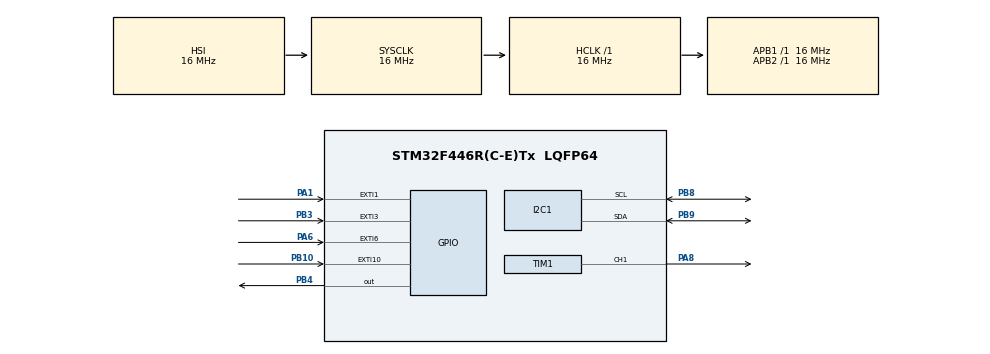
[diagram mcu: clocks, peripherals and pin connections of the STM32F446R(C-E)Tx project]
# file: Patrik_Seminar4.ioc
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Mcu.Family=STM32F4
PA6.GPIO_ModeDefaultEXTI=GPIO_MODE_IT_FALLING
RCC.CortexFreq_Value=16000000
PB10.GPIO_PuPd=GPIO_PULLUP
NVIC.EXTI3_IRQn=true\:3\:0\:true\:false\:true\:true\:true
PB3.GPIO_ModeDefaultEXTI=GPIO_MODE_IT_FALLING
ProjectManager.StackSize=0x400
PA13.Signal=SYS_JTMS-SWDIO
NVIC.EXTI1_IRQn=true\:3\:0\:true\:false\:true\:true\:true
TIM1.Prescaler=15
SH.S_TIM1_CH1.0=TIM1_CH1,PWM Generation1 CH1
ProjectManager.TargetToolchain=STM32CubeIDE
RCC.HCLKFreq_Value=16000000
PB9.Mode=I2C
RCC.APB2TimFreq_Value=16000000
RCC.USBFreq_Value=96000000
PA1.GPIO_PuPd=GPIO_PULLUP
PA1.Signal=GPXTI1
RCC.AHBFreq_Value=16000000
PB10.Signal=GPXTI10
NVIC.EXTI15_10_IRQn=true\:3\:0\:true\:false\:true\:true\:true
board=custom
RCC.VCOOutputFreq_Value=192000000
RCC.APB2Freq_Value=16000000
PA6.GPIO_PuPd=GPIO_PULLUP
PB3.GPIO_PuPd=GPIO_PULLUP
TIM1.Channel-PWM\ Generation1\ CH1=TIM_CHANNEL_1
PA14.Mode=Serial_Wire
PA8.Signal=S_TIM1_CH1
PA13.Mode=Serial_Wire
PB10.GPIO_ModeDefaultEXTI=GPIO_MODE_IT_FALLING
Mcu.Name=STM32F446R(C-E)Tx
VP_TIM1_VS_ClockSourceINT.Mode=Internal
PB3.Signal=GPXTI3
RCC.SYSCLKFreq_VALUE=16000000
Mcu.Package=LQFP64
PB9.Signal=I2C1_SDA
PA6.Signal=GPXTI6
NVIC.EXTI9_5_IRQn=true\:3\:0\:true\:false\:true\:true\:true
PA14.Signal=SYS_JTCK-SWCLK
ProjectManager.HeapSize=0x200
NVIC.PriorityGroup=NVIC_PRIORITYGROUP_4
PB8.Mode=I2C
RCC.APB1TimFreq_Value=16000000
PB8.Signal=I2C1_SCL
TIM1.Period=499
RCC.APB1Freq_Value=16000000
PA1.GPIO_ModeDefaultEXTI=GPIO_MODE_IT_FALLING
PB4.Signal=GPIO_Output

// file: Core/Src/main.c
/* USER CODE BEGIN Header */
/**
  ******************************************************************************
  * @file           : main.c
  * @brief          : Main program body
  ******************************************************************************
  * @attention
  *
  * <h2><center>&copy; Copyright (c) 2024 STMicroelectronics.
  * All rights reserved.</center></h2>
  *
  * This software component is licensed by ST under BSD 3-Clause license,
  * the "License"; You may not use this file except in compliance with the
  * License. You may obtain a copy of the License at:
  *                        opensource.org/licenses/BSD-3-Clause
  *
  ******************************************************************************
  */
/* USER CODE END Header */
#include "main.h"
#include "i2c.h"
#include "tim.h"
#include "gpio.h"
#include "lcd_biblioteka.h"
#include "stdio.h"

void SystemClock_Config(void);

int main(void)
{

  /* MCU Configuration--------------------------------------------------------*/

  /* Reset of all peripherals, Initializes the Flash interface and the Systick. */
  HAL_Init();

  /* Configure the system clock */
  SystemClock_Config();

  /* Initialize all configured peripherals */
  MX_GPIO_Init();
  MX_TIM1_Init();
  MX_I2C1_Init();
  /* USER CODE BEGIN 2 */

    LCDIspis_Init(2);
    LCDIspis_Clear();
	LCDIspis_SetCursor(0, 0);
	LCDIspis_PrintStr("Odaberite brzinu:");
	LCDIspis_SetCursor(5, 1);
	LCDIspis_PrintStr("1. 2. 3.");

  /* USER CODE END 2 */

  /* Infinite loop */
  while (1)
  {

  }
}

void SystemClock_Config(void)
{
  RCC_OscInitTypeDef RCC_OscInitStruct = {0};
  RCC_ClkInitTypeDef RCC_ClkInitStruct = {0};

  /** Configure the main internal regulator output voltage
  */
  __HAL_RCC_PWR_CLK_ENABLE();
  __HAL_PWR_VOLTAGESCALING_CONFIG(PWR_REGULATOR_VOLTAGE_SCALE3);
  /** Initializes the RCC Oscillators according to the specified parameters
  * in the RCC_OscInitTypeDef structure.
  */
  RCC_OscInitStruct.OscillatorType = RCC_OSCILLATORTYPE_HSI;
  RCC_OscInitStruct.HSIState = RCC_HSI_ON;
  RCC_OscInitStruct.HSICalibrationValue = RCC_HSICALIBRATION_DEFAULT;
  RCC_OscInitStruct.PLL.PLLState = RCC_PLL_NONE;
  if (HAL_RCC_OscConfig(&RCC_OscInitStruct) != HAL_OK)
  {
    Error_Handler();
  }
  /** Initializes the CPU, AHB and APB buses clocks
  */
  RCC_ClkInitStruct.ClockType = RCC_CLOCKTYPE_HCLK|RCC_CLOCKTYPE_SYSCLK
                              |RCC_CLOCKTYPE_PCLK1|RCC_CLOCKTYPE_PCLK2;
  RCC_ClkInitStruct.SYSCLKSource = RCC_SYSCLKSOURCE_HSI;
  RCC_ClkInitStruct.AHBCLKDivider = RCC_SYSCLK_DIV1;
  RCC_ClkInitStruct.APB1CLKDivider = RCC_HCLK_DIV1;
  RCC_ClkInitStruct.APB2CLKDivider = RCC_HCLK_DIV1;

  if (HAL_RCC_ClockConfig(&RCC_ClkInitStruct, FLASH_LATENCY_0) != HAL_OK)
  {
    Error_Handler();
  }
}

/* USER CODE BEGIN 4 */
void HAL_GPIO_EXTI_Callback(uint16_t GPIO_Pin)
{
	int duty_cycle;
	char lcdBuffer[16];

	if (GPIO_Pin == GPIO_PIN_1)
	{
		HAL_GPIO_WritePin(GPIOB, GPIO_PIN_4, 1);

		TIM1->CCR1 = 170;
		duty_cycle = ((170 * 100) / 500);
		HAL_TIM_PWM_Start(&htim1, TIM_CHANNEL_1);

		LCDIspis_Clear();
		LCDIspis_SetCursor(0, 0);
		LCDIspis_PrintStr("1. Duty cycle je:");
		LCDIspis_SetCursor(5, 1);
		sprintf(lcdBuffer, " %d%%", duty_cycle);
		LCDIspis_PrintStr(lcdBuffer);

		HAL_Delay(200);

	}
	else if (GPIO_Pin == GPIO_PIN_6)
	{
		HAL_GPIO_WritePin(GPIOB, GPIO_PIN_4, 1);

		TIM1->CCR1 = 250;
		duty_cycle = ((250 * 100) / 500);
		HAL_TIM_PWM_Start(&htim1, TIM_CHANNEL_1);

		LCDIspis_Clear();
		LCDIspis_SetCursor(0, 0);
		LCDIspis_PrintStr("2.Duty cycle je:");

		LCDIspis_SetCursor(5, 1);
		sprintf(lcdBuffer, " %d%%", duty_cycle);
		LCDIspis_PrintStr(lcdBuffer);

		HAL_Delay(200);
	}
	else if (GPIO_Pin == GPIO_PIN_10)

	{

		HAL_GPIO_WritePin(GPIOB, GPIO_PIN_4, 1);

		TIM1->CCR1 = 350;
		duty_cycle = ((350 * 100) / 500);
		HAL_TIM_PWM_Start(&htim1, TIM_CHANNEL_1);

		LCDIspis_Clear();
		LCDIspis_SetCursor(0, 0);
		LCDIspis_PrintStr("3.Duty cycle je:");

		LCDIspis_SetCursor(5, 1);
		sprintf(lcdBuffer, " %d%% ", duty_cycle);
		LCDIspis_PrintStr(lcdBuffer);

		HAL_Delay(200);
	}
	else if (GPIO_Pin == GPIO_PIN_3)
	{
		HAL_GPIO_WritePin(GPIOB, GPIO_PIN_4, 0);
		duty_cycle = 0;
		HAL_TIM_PWM_Stop(&htim1, TIM_CHANNEL_1);

		LCDIspis_Clear();
		LCDIspis_SetCursor(0, 5);
		LCDIspis_PrintStr("STOP");
		HAL_Delay(4000);

		LCDIspis_Clear();
		LCDIspis_SetCursor(5, 1);
		LCDIspis_PrintStr(" Ventilator je stao");

		for (int x = 0; x < 50; x = x + 1)
		{
			LCDIspis_ScrollDisplayLeft();
			HAL_Delay(250);
		}
	}

}
/* USER CODE END 4 */

void Error_Handler(void)
{
  __disable_irq();
  while (1)
  {
  }
}

/************************ (C) COPYRIGHT STMicroelectronics *****END OF FILE****/
